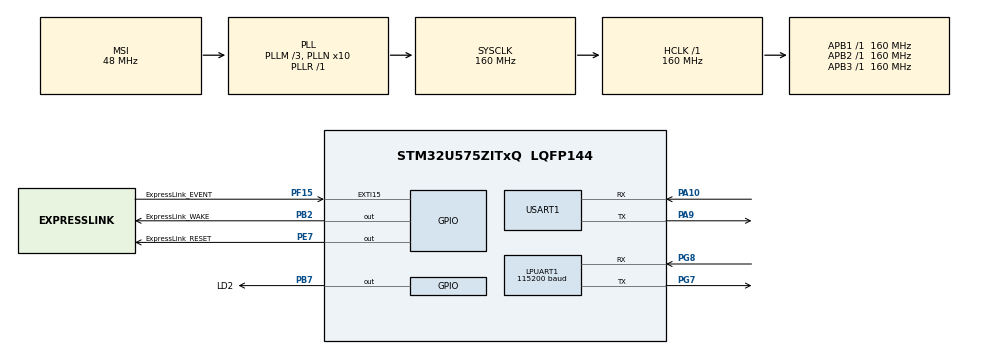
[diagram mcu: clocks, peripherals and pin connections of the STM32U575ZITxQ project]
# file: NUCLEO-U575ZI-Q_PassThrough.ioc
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CORTEX_M33_NS.userName=CORTEX_M33
LPUART1.BaudRate=115200
Mcu.Family=STM32U5
Mcu.Name=STM32U575ZITxQ
Mcu.Package=LQFP144
Mcu.UserConstants=EXPRESSLINK_UART,$$_LPUART1_IP_HANDLE_$$;CONSOLE_UART,$$_USART1_IP_HANDLE_$$
NVIC.EXTI15_IRQn=true\:7\:0\:true\:false\:true\:true\:true\:true
NVIC.LPUART1_IRQn=true\:0\:0\:false\:false\:true\:true\:true\:true
NVIC.PriorityGroup=NVIC_PRIORITYGROUP_4
NVIC.TIM6_IRQn=true\:15\:0\:false\:false\:true\:false\:true\:true
NVIC.TimeBase=TIM6_IRQn
NVIC.TimeBaseIP=TIM6
NVIC.USART1_IRQn=true\:0\:0\:false\:false\:true\:true\:true\:true
PA10.Mode=Asynchronous
PA10.Signal=USART1_RX
PA9.Mode=Asynchronous
PA9.Signal=USART1_TX
PB2.GPIO_Label=ExpressLink_WAKE
PB2.PinState=GPIO_PIN_SET
PB2.Signal=GPIO_Output
PB7.GPIO_Label=LD2
PB7.Signal=GPIO_Output
PB8.Signal=I2C1_SCL
PB9.Signal=I2C1_SDA
PE7.GPIO_Label=ExpressLink_RESET
PE7.PinState=GPIO_PIN_SET
PE7.Signal=GPIO_Output
PF15.GPIO_Label=ExpressLink_EVENT
PF15.Signal=GPXTI15
PG7.Mode=Asynchronous
PG7.Signal=LPUART1_TX
PG8.Mode=Asynchronous
PG8.Signal=LPUART1_RX
PWR.PowerMode=PWR_SMPS_SUPPLY
ProjectManager.HeapSize=0x200
ProjectManager.StackSize=0x400
ProjectManager.TargetToolchain=STM32CubeIDE
RCC.ADCFreq_Value=16000000
RCC.AHBFreq_Value=160000000
RCC.APB1Freq_Value=160000000
RCC.APB1TimFreq_Value=160000000
RCC.APB2Freq_Value=160000000
RCC.APB2TimFreq_Value=160000000
RCC.APB3Freq_Value=160000000
RCC.CortexFreq_Value=160000000
RCC.DACCLockSelectionVirtual=RCC_DAC1CLKSOURCE_LSI
RCC.EPOD_VALUE=48000000
RCC.HCLKFreq_Value=160000000
RCC.HSE_VALUE=16000000
RCC.HSI48_VALUE=48000000
RCC.HSI_VALUE=16000000
RCC.LSE_VALUE=32768
RCC.LSIDIV_VALUE=32000
RCC.MSIClockRange=RCC_MSIRANGE_0
RCC.MSI_VALUE=48000000
RCC.PLL1R=1
RCC.PLL2FRACN=0
RCC.PLL3FRACN=0
RCC.PLLFRACN=0
RCC.PLLM=3
RCC.PLLN=10
RCC.SYSCLKFreq_VALUE=160000000
RCC.SYSCLKSource=RCC_SYSCLKSOURCE_PLLCLK
RCC.USBFreq_Value=48000000
RCC.VCOOutputFreq_Value=160000000
USART1.VirtualMode-Asynchronous=VM_ASYNC
VP_ICACHE_VS_ICACHE.Mode=DirectMappedCache
VP_LPBAMQUEUE_VS_QUEUE.Mode=QUEUEMODE
VP_LPBAM_VS_SIG1.Mode=SmartRun
VP_LPBAM_VS_SIG4.Mode=LPDMA1
VP_PWR_VS_DBSignals.Mode=DisableDeadBatterySignals
VP_PWR_VS_LPOM.Mode=PowerOptimisation
VP_PWR_VS_SECSignals.Mode=Security/Privilege
VP_SYS_VS_tim6.Mode=TIM6
board=custom

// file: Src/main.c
/* USER CODE BEGIN Header */
/**
  ******************************************************************************
  * @file           : main.c
  * @brief          : Main program body
  ******************************************************************************
  * @attention
  *
  * Copyright (c) 2022 STMicroelectronics.
  * All rights reserved.
  *
  * This software is licensed under terms that can be found in the LICENSE file
  * in the root directory of this software component.
  * If no LICENSE file comes with this software, it is provided AS-IS.
  *
  ******************************************************************************
  */
/* USER CODE END Header */
#include "main.h"

/* USER CODE BEGIN Includes */
#include <string.h>
/* USER CODE END Includes */

UART_HandleTypeDef hlpuart1;
UART_HandleTypeDef huart1;

/* USER CODE BEGIN PV */
uint8_t expresslink_data;
uint8_t console_data;
/* USER CODE END PV */

void SystemClock_Config(void);
static void SystemPower_Config(void);
static void MX_GPIO_Init(void);
static void MX_ICACHE_Init(void);
static void MX_USART1_UART_Init(void);
static void MX_LPUART1_UART_Init(void);

/* USER CODE BEGIN 0 */
void HAL_UART_RxCpltCallback(UART_HandleTypeDef *huart)
{
  if(huart->Instance == EXPRESSLINK_UART.Instance)
  {
    CONSOLE_UART.Instance->TDR = expresslink_data;
    HAL_UART_Receive_IT(&EXPRESSLINK_UART , (uint8_t *)&expresslink_data, 1);
  }

  if(huart->Instance == CONSOLE_UART.Instance)
  {
    EXPRESSLINK_UART.Instance->TDR = console_data;
    HAL_UART_Receive_IT(&CONSOLE_UART    , (uint8_t *)&console_data, 1);
  }
}
/* USER CODE END 0 */

int main(void)
{

  /* MCU Configuration--------------------------------------------------------*/

  /* Reset of all peripherals, Initializes the Flash interface and the Systick. */
  HAL_Init();

  /* Configure the system clock */
  SystemClock_Config();

  /* Configure the System Power */
  SystemPower_Config();

  /* Initialize all configured peripherals */
  MX_GPIO_Init();
  MX_ICACHE_Init();
  MX_USART1_UART_Init();
  MX_LPUART1_UART_Init();
  /* USER CODE BEGIN 2 */

#if 1
  HAL_UART_Transmit(&CONSOLE_UART, (uint8_t *)&"Commands example:\r\n"           , strlen("Commands example:\r\n")           , 0xFFFFFFFF);
  HAL_UART_Transmit(&CONSOLE_UART, (uint8_t *)&"AT+CONF? ThingName\r\n"          , strlen("AT+CONF? ThingName\r\n")          , 0xFFFFFFFF);
  HAL_UART_Transmit(&CONSOLE_UART, (uint8_t *)&"AT+CONF? Certificate pem\r\n"    , strlen("AT+CONF? Certificate pem\r\n")    , 0xFFFFFFFF);
  HAL_UART_Transmit(&CONSOLE_UART, (uint8_t *)&"AT+CONF? About\r\n"              , strlen("AT+CONF? About\r\n")              , 0xFFFFFFFF);
  HAL_UART_Transmit(&CONSOLE_UART, (uint8_t *)&"AT+CONF? Version\r\n"            , strlen("AT+CONF? Version\r\n")            , 0xFFFFFFFF);
  HAL_UART_Transmit(&CONSOLE_UART, (uint8_t *)&"AT+CONF? TechSpec\r\n"           , strlen("AT+CONF? TechSpec\r\n")           , 0xFFFFFFFF);
  HAL_UART_Transmit(&CONSOLE_UART, (uint8_t *)&"AT+OTA FLUSH\r\n"                , strlen("AT+OTA FLUSH\r\n")                , 0xFFFFFFFF);
  HAL_UART_Transmit(&CONSOLE_UART, (uint8_t *)&"AT+CONF? HOTAcertificate pem\r\n", strlen("AT+CONF? HOTAcertificate pem\r\n"), 0xFFFFFFFF);
  HAL_UART_Transmit(&CONSOLE_UART, (uint8_t *)&"AT+CONF HOTAcertificate=pem\r\n" , strlen("AT+CONF HOTAcertificate=pem\r\n") , 0xFFFFFFFF);
  HAL_UART_Transmit(&CONSOLE_UART, (uint8_t *)&"AT+FACTORY_RESET\r\n"            , strlen("AT+FACTORY_RESET\r\n")            , 0xFFFFFFFF);
  HAL_UART_Transmit(&CONSOLE_UART, (uint8_t *)&"AT+CONF? APN\r\n"                , strlen("AT+CONF? APN\r\n")                , 0xFFFFFFFF);
#endif

  HAL_UART_Receive_IT(&EXPRESSLINK_UART, (uint8_t *)&expresslink_data , 1);
  HAL_UART_Receive_IT(&CONSOLE_UART    , (uint8_t *)&console_data     , 1);

  HAL_SuspendTick();
  /* USER CODE END 2 */

  /* Infinite loop */
  while (1)
  {

  }
}

void SystemClock_Config(void)
{
  RCC_OscInitTypeDef RCC_OscInitStruct = {0};
  RCC_ClkInitTypeDef RCC_ClkInitStruct = {0};

  /** Configure the main internal regulator output voltage
  */
  if (HAL_PWREx_ControlVoltageScaling(PWR_REGULATOR_VOLTAGE_SCALE1) != HAL_OK)
  {
    Error_Handler();
  }

  /** Initializes the CPU, AHB and APB buses clocks
  */
  RCC_OscInitStruct.OscillatorType = RCC_OSCILLATORTYPE_MSI;
  RCC_OscInitStruct.MSIState = RCC_MSI_ON;
  RCC_OscInitStruct.MSICalibrationValue = RCC_MSICALIBRATION_DEFAULT;
  RCC_OscInitStruct.MSIClockRange = RCC_MSIRANGE_0;
  RCC_OscInitStruct.PLL.PLLState = RCC_PLL_ON;
  RCC_OscInitStruct.PLL.PLLSource = RCC_PLLSOURCE_MSI;
  RCC_OscInitStruct.PLL.PLLMBOOST = RCC_PLLMBOOST_DIV4;
  RCC_OscInitStruct.PLL.PLLM = 3;
  RCC_OscInitStruct.PLL.PLLN = 10;
  RCC_OscInitStruct.PLL.PLLP = 2;
  RCC_OscInitStruct.PLL.PLLQ = 2;
  RCC_OscInitStruct.PLL.PLLR = 1;
  RCC_OscInitStruct.PLL.PLLRGE = RCC_PLLVCIRANGE_1;
  RCC_OscInitStruct.PLL.PLLFRACN = 0;
  if (HAL_RCC_OscConfig(&RCC_OscInitStruct) != HAL_OK)
  {
    Error_Handler();
  }

  /** Initializes the CPU, AHB and APB buses clocks
  */
  RCC_ClkInitStruct.ClockType = RCC_CLOCKTYPE_HCLK|RCC_CLOCKTYPE_SYSCLK
                              |RCC_CLOCKTYPE_PCLK1|RCC_CLOCKTYPE_PCLK2
                              |RCC_CLOCKTYPE_PCLK3;
  RCC_ClkInitStruct.SYSCLKSource = RCC_SYSCLKSOURCE_PLLCLK;
  RCC_ClkInitStruct.AHBCLKDivider = RCC_SYSCLK_DIV1;
  RCC_ClkInitStruct.APB1CLKDivider = RCC_HCLK_DIV1;
  RCC_ClkInitStruct.APB2CLKDivider = RCC_HCLK_DIV1;
  RCC_ClkInitStruct.APB3CLKDivider = RCC_HCLK_DIV1;

  if (HAL_RCC_ClockConfig(&RCC_ClkInitStruct, FLASH_LATENCY_4) != HAL_OK)
  {
    Error_Handler();
  }
}

/**
  * @brief Power Configuration
  * @retval None
  */
static void SystemPower_Config(void)
{
  HAL_PWREx_EnableVddIO2();

  /*
   * Disable the internal Pull-Up in Dead Battery pins of UCPD peripheral
   */
  HAL_PWREx_DisableUCPDDeadBattery();

  /*
   * Switch to SMPS regulator instead of LDO
   */
  if (HAL_PWREx_ConfigSupply(PWR_SMPS_SUPPLY) != HAL_OK)
  {
    Error_Handler();
  }
}

static void MX_ICACHE_Init(void)
{

  /** Enable instruction cache in 1-way (direct mapped cache)
  */
  if (HAL_ICACHE_ConfigAssociativityMode(ICACHE_1WAY) != HAL_OK)
  {
    Error_Handler();
  }
  if (HAL_ICACHE_Enable() != HAL_OK)
  {
    Error_Handler();
  }

}

static void MX_LPUART1_UART_Init(void)
{

  hlpuart1.Instance = LPUART1;
  hlpuart1.Init.BaudRate = 115200;
  hlpuart1.Init.WordLength = UART_WORDLENGTH_8B;
  hlpuart1.Init.StopBits = UART_STOPBITS_1;
  hlpuart1.Init.Parity = UART_PARITY_NONE;
  hlpuart1.Init.Mode = UART_MODE_TX_RX;
  hlpuart1.Init.HwFlowCtl = UART_HWCONTROL_NONE;
  hlpuart1.Init.OneBitSampling = UART_ONE_BIT_SAMPLE_DISABLE;
  hlpuart1.AdvancedInit.AdvFeatureInit = UART_ADVFEATURE_NO_INIT;
  hlpuart1.FifoMode = UART_FIFOMODE_DISABLE;
  if (HAL_UART_Init(&hlpuart1) != HAL_OK)
  {
    Error_Handler();
  }
  if (HAL_UARTEx_SetTxFifoThreshold(&hlpuart1, UART_TXFIFO_THRESHOLD_1_8) != HAL_OK)
  {
    Error_Handler();
  }
  if (HAL_UARTEx_SetRxFifoThreshold(&hlpuart1, UART_RXFIFO_THRESHOLD_1_8) != HAL_OK)
  {
    Error_Handler();
  }
  if (HAL_UARTEx_DisableFifoMode(&hlpuart1) != HAL_OK)
  {
    Error_Handler();
  }

}

static void MX_USART1_UART_Init(void)
{

  huart1.Instance = USART1;
  huart1.Init.BaudRate = 115200;
  huart1.Init.WordLength = UART_WORDLENGTH_8B;
  huart1.Init.StopBits = UART_STOPBITS_1;
  huart1.Init.Parity = UART_PARITY_NONE;
  huart1.Init.Mode = UART_MODE_TX_RX;
  huart1.Init.HwFlowCtl = UART_HWCONTROL_NONE;
  huart1.Init.OverSampling = UART_OVERSAMPLING_16;
  huart1.Init.OneBitSampling = UART_ONE_BIT_SAMPLE_DISABLE;
  huart1.Init.ClockPrescaler = UART_PRESCALER_DIV1;
  huart1.AdvancedInit.AdvFeatureInit = UART_ADVFEATURE_NO_INIT;
  if (HAL_UART_Init(&huart1) != HAL_OK)
  {
    Error_Handler();
  }
  if (HAL_UARTEx_SetTxFifoThreshold(&huart1, UART_TXFIFO_THRESHOLD_1_8) != HAL_OK)
  {
    Error_Handler();
  }
  if (HAL_UARTEx_SetRxFifoThreshold(&huart1, UART_RXFIFO_THRESHOLD_1_8) != HAL_OK)
  {
    Error_Handler();
  }
  if (HAL_UARTEx_DisableFifoMode(&huart1) != HAL_OK)
  {
    Error_Handler();
  }

}

static void MX_GPIO_Init(void)
{
  GPIO_InitTypeDef GPIO_InitStruct = {0};

  /* GPIO Ports Clock Enable */
  __HAL_RCC_GPIOB_CLK_ENABLE();
  __HAL_RCC_GPIOF_CLK_ENABLE();
  __HAL_RCC_GPIOE_CLK_ENABLE();
  __HAL_RCC_GPIOG_CLK_ENABLE();
  __HAL_RCC_GPIOA_CLK_ENABLE();

  /*Configure GPIO pin Output Level */
  HAL_GPIO_WritePin(ExpressLink_WAKE_GPIO_Port, ExpressLink_WAKE_Pin, GPIO_PIN_SET);

  /*Configure GPIO pin Output Level */
  HAL_GPIO_WritePin(ExpressLink_RESET_GPIO_Port, ExpressLink_RESET_Pin, GPIO_PIN_SET);

  /*Configure GPIO pin Output Level */
  HAL_GPIO_WritePin(LD2_GPIO_Port, LD2_Pin, GPIO_PIN_RESET);

  /*Configure GPIO pins : ExpressLink_WAKE_Pin LD2_Pin */
  GPIO_InitStruct.Pin = ExpressLink_WAKE_Pin|LD2_Pin;
  GPIO_InitStruct.Mode = GPIO_MODE_OUTPUT_PP;
  GPIO_InitStruct.Pull = GPIO_NOPULL;
  GPIO_InitStruct.Speed = GPIO_SPEED_FREQ_LOW;
  HAL_GPIO_Init(GPIOB, &GPIO_InitStruct);

  /*Configure GPIO pin : ExpressLink_EVENT_Pin */
  GPIO_InitStruct.Pin = ExpressLink_EVENT_Pin;
  GPIO_InitStruct.Mode = GPIO_MODE_IT_RISING;
  GPIO_InitStruct.Pull = GPIO_NOPULL;
  HAL_GPIO_Init(ExpressLink_EVENT_GPIO_Port, &GPIO_InitStruct);

  /*Configure GPIO pin : ExpressLink_RESET_Pin */
  GPIO_InitStruct.Pin = ExpressLink_RESET_Pin;
  GPIO_InitStruct.Mode = GPIO_MODE_OUTPUT_PP;
  GPIO_InitStruct.Pull = GPIO_NOPULL;
  GPIO_InitStruct.Speed = GPIO_SPEED_FREQ_LOW;
  HAL_GPIO_Init(ExpressLink_RESET_GPIO_Port, &GPIO_InitStruct);

  /*Configure GPIO pins : PB8 PB9 */
  GPIO_InitStruct.Pin = GPIO_PIN_8|GPIO_PIN_9;
  GPIO_InitStruct.Mode = GPIO_MODE_AF_OD;
  GPIO_InitStruct.Pull = GPIO_NOPULL;
  GPIO_InitStruct.Speed = GPIO_SPEED_FREQ_LOW;
  GPIO_InitStruct.Alternate = GPIO_AF4_I2C1;
  HAL_GPIO_Init(GPIOB, &GPIO_InitStruct);

  /* EXTI interrupt init*/
  HAL_NVIC_SetPriority(EXTI15_IRQn, 7, 0);
  HAL_NVIC_EnableIRQ(EXTI15_IRQn);

}

void HAL_TIM_PeriodElapsedCallback(TIM_HandleTypeDef *htim)
{
  if (htim->Instance == TIM6) {
    HAL_IncTick();
  }
}

void Error_Handler(void)
{
  __disable_irq();
  while (1)
  {
  }
}
